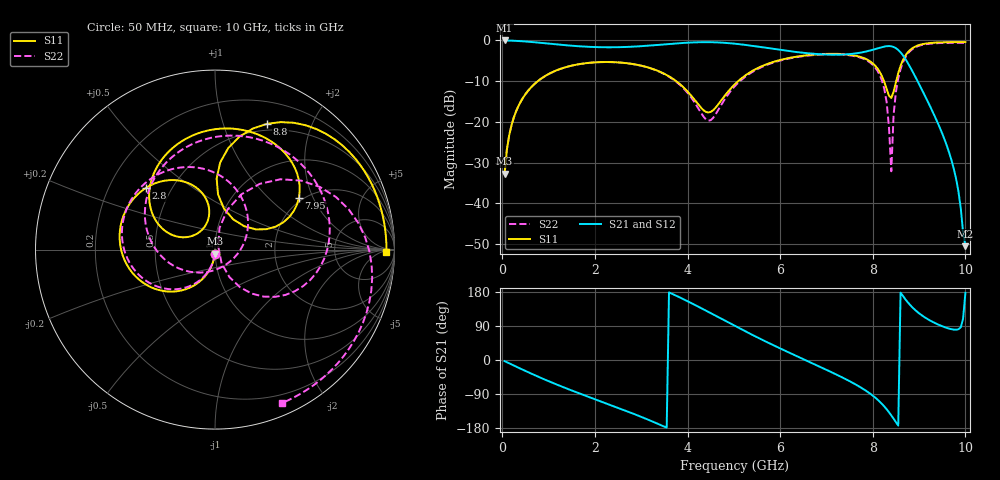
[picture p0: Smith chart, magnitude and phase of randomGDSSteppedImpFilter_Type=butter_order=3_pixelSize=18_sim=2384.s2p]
! freq	dB(S11)	phase(S11)	dB(S12)	phase(S12)
!  dB(S21)	phase(S21)	dB(S22)	phase(S22)
!S-par simulation data
#  GHz  S  DB  R 50
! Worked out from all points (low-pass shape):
!   200 points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, 50 MHz to 10 GHz, reference 50 ohm
!   highest |S21| = 0.00 dB at 50 MHz (marker M1); lowest = -50.6 dB at 10 GHz (marker M2)
!   |S21| within 3 dB of the highest: start of sweep to 6.473 GHz; 7.733 GHz to 8.605 GHz (872.6 MHz wide, 10.7 % of centre)
!   lowest |S11| = -32.7 dB at 50 MHz (marker M3), VSWR 1.05, Z = 49.8 - j2.3 ohm
!   |S11| at or under -10 dB: start of sweep to 767.5 MHz; 3.755 GHz to 5.093 GHz (1.338 GHz wide, 30.2 % of centre); 8.242 GHz to 8.505 GHz (263.3 MHz wide, 3.14 % of centre)
!   |S22| runs from -32.7 to -0.6 dB; largest |S21 - S12| = 0
!   S11 on the Smith chart (normalised r, x): 50 MHz: 1.00, -0.05; 2.8 GHz: 0.36, +0.34; 7.95 GHz: 1.90, +1.58; 8.8 GHz: 0.43, +1.41; 10 GHz: 40, -12
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0.05  -32.73 -92.9  -0.00 -3.0  -0.00 -3.0  -32.73 -93.1
0.2  -20.78 -101.7  -0.05 -11.8  -0.05 -11.8  -20.78 -102.5
0.5  -13.20 -118.5  -0.25 -28.9  -0.25 -28.9  -13.20 -120.4
1.75  -5.67 -178.8  -1.50 -92.1  -1.50 -92.1  -5.67 173.5
2.8  -5.76 138.0  -1.54 -140.3  -1.54 -140.3  -5.78 120.9
3.4  -7.66 114.2  -1.06 -170.6  -1.06 -170.6  -7.72 85.4
4.45  -17.70 129.5  -0.42 126.9  -0.42 126.9  -19.73 -55.0
5.05  -10.45 159.2  -0.83 88.2  -0.83 88.2  -10.90 -168.8
5.75  -5.67 133.2  -1.90 45.1  -1.90 45.1  -5.85 133.6
6.7  -3.51 91.8  -3.25 -9.0  -3.25 -9.0  -3.61 69.0
7.4  -3.40 60.3  -3.44 -49.6  -3.44 -49.6  -3.52 21.7
7.95  -5.20 31.7  -2.45 -89.4  -2.45 -89.4  -5.50 -22.6
8.2  -8.82 20.7  -1.64 -116.1  -1.64 -116.1  -9.92 -50.1
8.35  -13.61 38.6  -1.38 -137.8  -1.38 -137.8  -21.37 -64.4
8.4  -14.12 59.0  -1.44 -146.1  -1.44 -146.1  -32.15 42.4
8.45  -12.61 77.8  -1.60 -154.9  -1.60 -154.9  -18.17 78.3
8.5  -10.24 86.9  -1.90 -164.0  -1.90 -164.0  -12.65 72.6
8.8  -2.41 67.6  -6.39 146.1  -6.39 146.1  -2.67 23.5
9.1  -0.85 42.6  -12.99 114.4  -12.99 114.4  -1.01 -10.3
9.65  -0.42 13.2  -27.59 82.8  -27.59 82.8  -0.60 -48.5
9.85  -0.40 5.0  -37.11 81.1  -37.11 81.1  -0.59 -59.1
10  -0.40 -0.8  -50.55 177.2  -50.55 177.2  -0.60 -66.6
